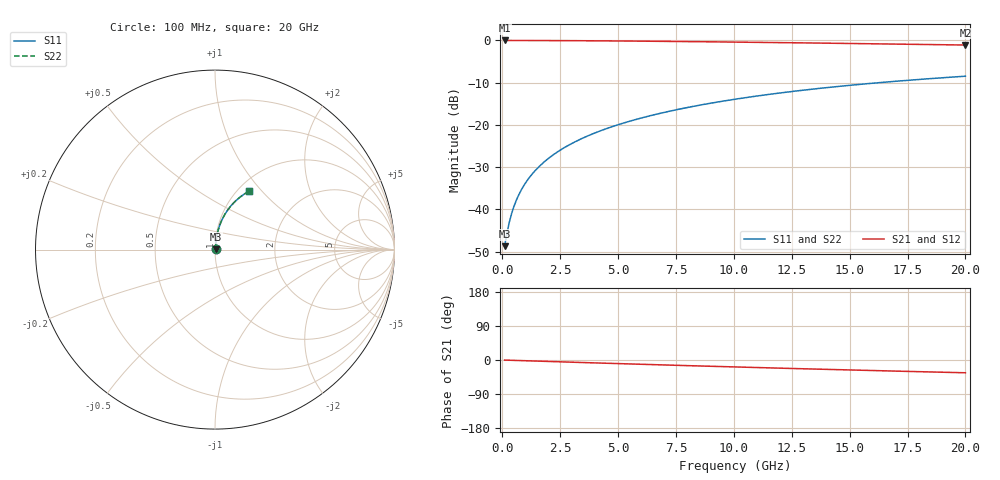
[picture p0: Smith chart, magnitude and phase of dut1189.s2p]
! Touchstone file exported from HFSS 2024.1.0
!  File:  C:/UserFiles/LocalFiles/RDL_TSV_Batchsim/temp_RDL_bottom_1189_1780057570.aedt
!  Generated:  08:28:21 PM May 29, 2026
!  Design:  RDL_bottom
!  Project:  temp_RDL_bottom_1189_1780057570
!  Setup:  Setup1
!  Solution:  Sweep
! Variables:
!  dtsv = 10.80580581um
!  hbump = 3um
!  htsv = 72.82um
!  ldown = 430.09um
!  lrdl = 100um
!  p = 40
!  p1 = 48.02um
!  rhole = 1um
!  t = 450um
!  tdown = 3.56um
!  trdl = 3.915915916um
!  wdown = 14.87um
!  wrdl = 20um
# GHz S MA R 50.000000
! Terminal data exported
! Port[1] = RDL1_T1
! Port[2] = RDL1_T2
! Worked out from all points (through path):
!   200 points, 100 MHz to 20 GHz, reference 50 ohm
!   highest |S21| = -0.03 dB at 100 MHz (marker M1); lowest = -1.1 dB at 20 GHz (marker M2)
!   group delay of S21, straight-line fit = 4.67 ps
!   lowest |S11| = -48.7 dB at 100 MHz (marker M3), VSWR 1.01, Z = 50.3 + j0.212 ohm
!   |S11| at or under -10 dB: start of sweep to 16.3 GHz
!   |S22| runs from -48.7 to -8.5 dB; largest |S21 - S12| = 3.5e-15
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0.1  0.00367 35.0  0.997 -0.2  0.997 -0.2  0.00367 35.0
! Gamma 0 0 0 0
! Port Impedance 50 0 50 0
0.2  0.005195 53.6  0.9969 -0.4  0.9969 -0.4  0.005195 53.6
0.3  0.006992 62.9  0.9968 -0.6  0.9968 -0.6  0.006992 62.9
0.4  0.008872 68.2  0.9967 -0.8  0.9967 -0.8  0.008872 68.2
0.5  0.01078 71.7  0.9966 -1.0  0.9966 -1.0  0.01078 71.6
0.6  0.01271 74.0  0.9965 -1.2  0.9965 -1.2  0.01271 74.0
0.8  0.01658 77.1  0.9962 -1.6  0.9962 -1.6  0.01658 77.1
1.1  0.02244 79.7  0.9958 -2.1  0.9958 -2.1  0.02244 79.7
1.5  0.03032 81.4  0.9952 -2.9  0.9952 -2.9  0.03032 81.4
1.8  0.03626 82.1  0.9946 -3.5  0.9946 -3.5  0.03626 82.1
2.1  0.04222 82.5  0.994 -4.1  0.994 -4.1  0.04222 82.5
2.7  0.05419 82.7  0.9924 -5.2  0.9924 -5.2  0.05418 82.7
3.5  0.0702 82.5  0.9898 -6.7  0.9898 -6.7  0.07019 82.5
4.2  0.08425 82.0  0.9871 -8.0  0.9871 -8.0  0.08425 82.0
5  0.1003 81.2  0.9835 -9.5  0.9835 -9.5  0.1003 81.2
5.9  0.1185 80.2  0.9791 -11.2  0.9791 -11.2  0.1185 80.2
6.8  0.1366 79.1  0.9742 -12.8  0.9742 -12.8  0.1366 79.1
8.3  0.1666 77.1  0.9653 -15.4  0.9653 -15.4  0.1666 77.1
10.1  0.2021 74.5  0.9536 -18.4  0.9536 -18.4  0.202 74.5
13.4  0.2648 69.5  0.9304 -23.8  0.9304 -23.8  0.2647 69.5
16.7  0.3231 64.6  0.9057 -28.9  0.9057 -28.9  0.323 64.5
20  0.3763 59.8  0.88 -33.7  0.88 -33.7  0.3762 59.7
